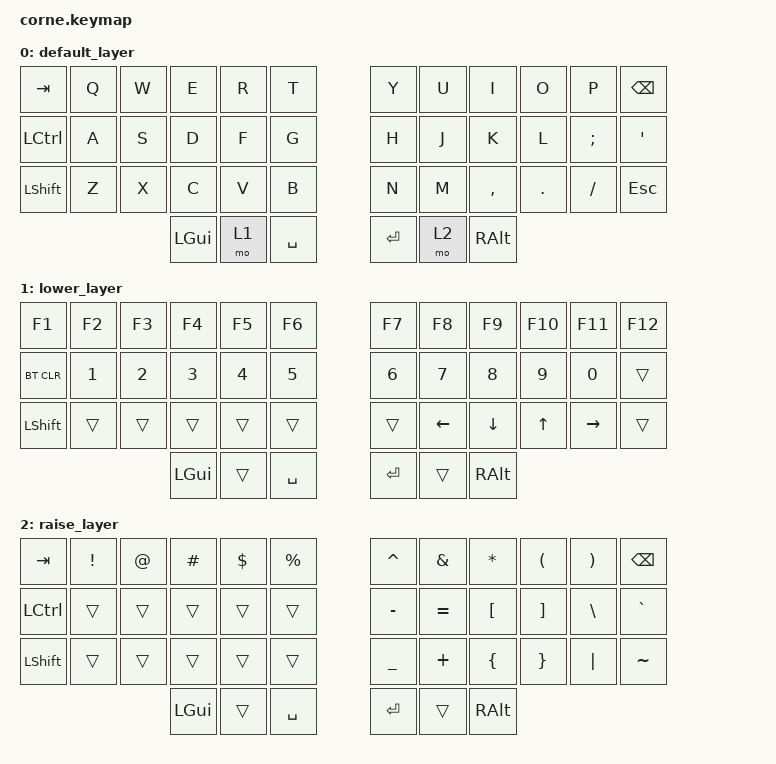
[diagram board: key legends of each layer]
/*
 * Copyright (c) 2020 The ZMK Contributors
 *
 * SPDX-License-Identifier: MIT
 */

#include <behaviors.dtsi>
#include <dt-bindings/zmk/keys.h>
#include <dt-bindings/zmk/bt.h>

/ {
        keymap {
                compatible = "zmk,keymap";

                default_layer {
// -----------------------------------------------------------------------------------------
// |  TAB |  Q  |  W  |  E  |  R  |  T  |   |  Y  |  U   |  I  |  O  |  P  | BSPC |
// | CTRL |  A  |  S  |  D  |  F  |  G  |   |  H  |  J   |  K  |  L  |  ;  |  '   |
// | SHFT |  Z  |  X  |  C  |  V  |  B  |   |  N  |  M   |  ,  |  .  |  /  | ESC  |
//                    | GUI | LWR | SPC |   | ENT | RSE  | ALT |
                        bindings = <
   &kp TAB   &kp Q &kp W &kp E &kp R &kp T   &kp Y &kp U  &kp I     &kp O   &kp P    &kp BSPC
   &kp LCTRL &kp A &kp S &kp D &kp F &kp G   &kp H &kp J  &kp K     &kp L   &kp SEMI &kp SQT
   &kp LSHFT &kp Z &kp X &kp C &kp V &kp B   &kp N &kp M  &kp COMMA &kp DOT &kp FSLH &kp ESC
                  &kp LGUI &mo 1 &kp SPACE   &kp RET &mo 2 &kp RALT
                        >;
                };
                lower_layer {
// -----------------------------------------------------------------------------------------
// |  F1  | F2  | F3  | F4  | F5  | F6  |   | F7  | F8  | F9  | F10 | F11 | F12  |
// | CLR  |  1  |  2  |  3  |  4  |  5  |   |  6  |  7  |  8  |  9  |  0  |      |
// | SHFT |     |     |     |     |     |   |     | LFT | DWN |  UP | RGT |      |
//                    | GUI |     | SPC |   | ENT |     | ALT |
                        bindings = <
   &kp F1     &kp F2       &kp F3       &kp F4       &kp F5       &kp F6         &kp F7   &kp F8   &kp F9 &kp F10   &kp F11 &kp F12
   &bt BT_CLR &kp N1       &kp N2       &kp N3       &kp N4       &kp N5         &kp N6   &kp N7   &kp N8 &kp N9    &kp N0  &trans
   &kp LSHFT  &trans       &trans       &trans       &trans       &trans         &trans   &kp LEFT &kp DOWN &kp UP  &kp RIGHT &trans
                                    &kp LGUI     &trans       &kp SPACE      &kp RET  &trans   &kp RALT
                        >;
                };

                raise_layer {
// -----------------------------------------------------------------------------------------
// |  TAB |  !  |  @  |  #  |  $  |  %  |   |  ^  |  &  |  *  |  (  |  )  | BSPC |
// | CTRL |     |     |     |     |     |   |  -  |  =  |  [  |  ]  |  \  |  `   |
// | SHFT |     |     |     |     |     |   |  _  |  +  |  {  |  }  | "|" |  ~   |
//                    | GUI |     | SPC |   | ENT |     | ALT |
                        bindings = <
   &kp  TAB  &kp EXCL &kp AT &kp HASH &kp DLLR &kp PRCNT   &kp CARET &kp AMPS  &kp ASTRK &kp LPAR &kp RPAR &kp BSPC
   &kp LCTRL &trans   &trans &trans   &trans   &trans      &kp MINUS &kp EQUAL &kp LBKT  &kp RBKT &kp BSLH &kp GRAVE
   &kp LSHFT &trans   &trans &trans   &trans   &trans      &kp UNDER &kp PLUS  &kp LBRC  &kp RBRC &kp PIPE &kp TILDE
                             &kp LGUI &trans   &kp SPACE   &kp RET   &trans    &kp RALT
                        >;
                };
        };
};
